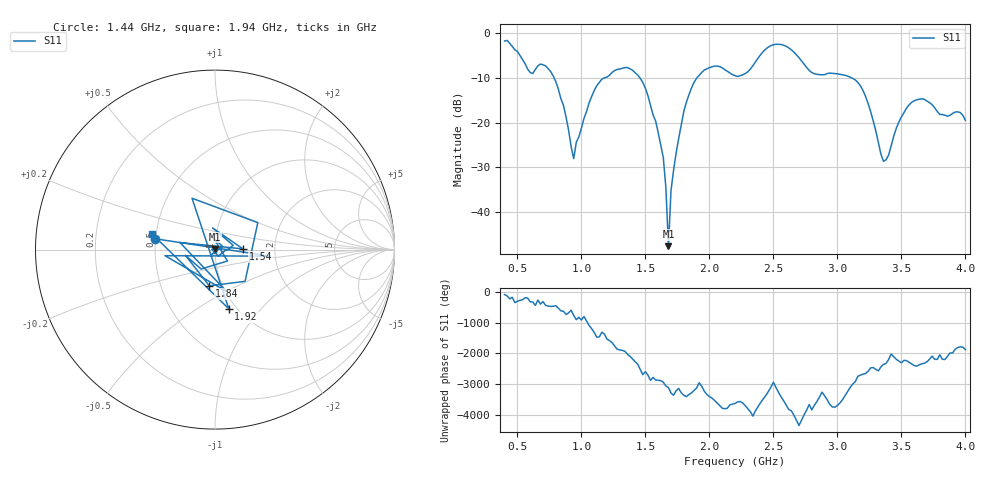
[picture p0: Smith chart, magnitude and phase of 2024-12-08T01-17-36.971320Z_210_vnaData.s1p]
!Created with skrf (http://scikit-rf.org).
# Hz S RI R 50.0
!freq ReS11 ImS11
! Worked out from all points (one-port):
!   181 points, 400 MHz to 4 GHz, reference 50 ohm
!   lowest |S11| = -47.7 dB at 1.68 GHz (marker M1), VSWR 1.01, Z = 49.7 + j0.323 ohm
!   |S11| at or under -10 dB: 786.7 MHz to 1.179 GHz (392.8 MHz wide, 40 % of centre); 1.457 GHz to 1.902 GHz (445.5 MHz wide, 26.5 % of centre); 3.112 GHz to end of sweep
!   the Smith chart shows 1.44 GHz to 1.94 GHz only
!   S11 on the Smith chart (normalised r, x): 1.44 GHz: 0.49, +0.07; 1.54 GHz: 1.37, +0.01; 1.84 GHz: 0.87, -0.37; 1.92 GHz: 0.92, -0.69; 1.94 GHz: 0.47, +0.10
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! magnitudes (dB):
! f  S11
! 400 MHz  -1.7
! 600 MHz  -8.8
! 720 MHz  -7.3
! 860 MHz  -16.2
! 940 MHz  -28.1
! 960 MHz  -24.4
! 1.1 GHz  -12.8
! 1.3 GHz  -8.0
! 1.44 GHz  -9.3
! 1.54 GHz  -16.1
! 1.64 GHz  -27.9
! 1.66 GHz  -34.7
! 1.68 GHz  -47.7
! 1.7 GHz  -35.2
! 1.76 GHz  -23.6
! 1.84 GHz  -13.8
! 1.92 GHz  -9.4
! 1.94 GHz  -8.8
! 2.2 GHz  -9.5
! 2.48 GHz  -2.8
! 2.66 GHz  -4.2
! 2.8 GHz  -8.8
! 3.1 GHz  -9.8
! 3.22 GHz  -14.2
! 3.36 GHz  -28.7
! 3.56 GHz  -16.0
! 3.68 GHz  -14.8
! 4 GHz  -19.5
